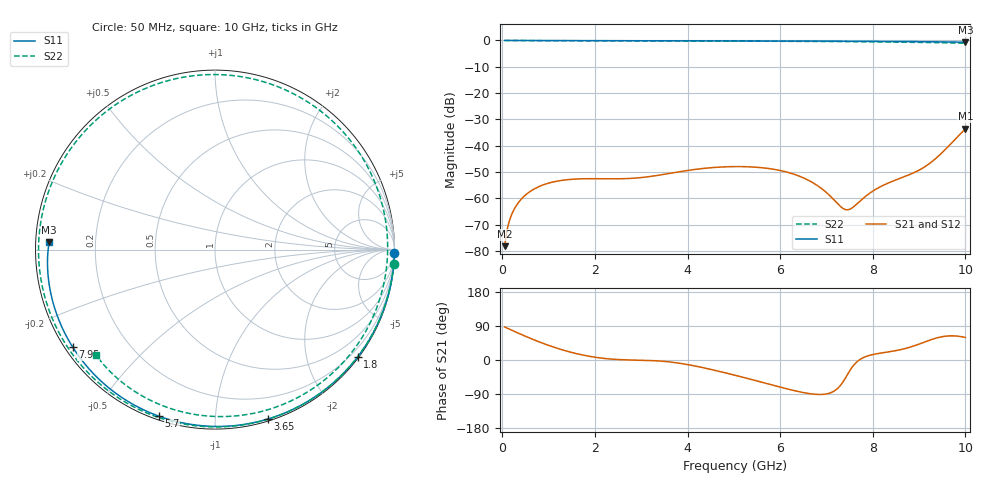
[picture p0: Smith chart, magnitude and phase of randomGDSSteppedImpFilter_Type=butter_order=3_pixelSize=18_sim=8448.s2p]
! freq	dB(S11)	phase(S11)	dB(S12)	phase(S12)
!  dB(S21)	phase(S21)	dB(S22)	phase(S22)
!S-par simulation data
#  GHz  S  DB  R 50
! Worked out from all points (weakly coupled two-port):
!   200 points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, 50 MHz to 10 GHz, reference 50 ohm
!   highest |S21| = -33.58 dB at 10 GHz (marker M1); lowest = -78.2 dB at 50 MHz (marker M2)
!   lowest |S11| = -0.7 dB at 10 GHz (marker M3), VSWR 25.70, Z = 1.95 + j1.08 ohm
!   |S11| at or under -10 dB: nowhere
!   |S22| runs from -1.1 to 0.0 dB; largest |S21 - S12| = 0
!   S11 on the Smith chart (normalised r, x): 50 MHz: open; 1.8 GHz: 0.03, -2.99; 3.65 GHz: 0.02, -1.36; 5.7 GHz: 0.02, -0.72; 7.95 GHz: 0.02, -0.31; 10 GHz: 0.04, +0.02
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0.05  -0.00 -1.1  -78.19 87.2  -78.19 87.2  -0.00 -4.6
0.1  -0.00 -2.1  -72.19 84.4  -72.19 84.4  -0.01 -9.2
0.2  -0.01 -4.2  -66.25 78.8  -66.25 78.8  -0.03 -18.3
0.5  -0.01 -10.4  -58.76 62.6  -58.76 62.6  -0.06 -44.9
0.75  -0.02 -15.6  -55.89 50.0  -55.89 50.0  -0.08 -65.8
1.05  -0.03 -21.8  -53.99 36.5  -53.99 36.5  -0.10 -88.9
1.35  -0.04 -27.9  -53.03 24.8  -53.03 24.8  -0.11 -110.0
1.75  -0.05 -36.0  -52.57 12.8  -52.57 12.8  -0.13 -135.2
1.8  -0.05 -37.0  -52.55 11.6  -52.55 11.6  -0.13 -138.1
2.55  -0.07 -51.8  -52.57 0.9  -52.57 0.9  -0.14 -178.6
3.4  -0.09 -68.0  -51.16 -2.7  -51.16 -2.7  -0.17 140.3
3.65  -0.10 -72.6  -50.42 -5.7  -50.42 -5.7  -0.18 128.5
4.35  -0.12 -85.3  -48.63 -20.6  -48.63 -20.6  -0.21 95.5
5.05  -0.15 -97.6  -47.94 -41.0  -47.94 -41.0  -0.25 62.0
5.7  -0.18 -108.6  -48.56 -61.7  -48.56 -61.7  -0.29 30.8
6.2  -0.21 -117.0  -50.30 -77.7  -50.30 -77.7  -0.32 7.3
6.7  -0.24 -125.2  -54.00 -89.8  -54.00 -89.8  -0.37 -15.4
7.4  -0.30 -136.6  -64.25 -49.5  -64.25 -49.5  -0.44 -45.3
7.95  -0.34 -145.6  -57.85 12.9  -57.85 12.9  -0.52 -67.1
8.35  -0.38 -152.2  -54.06 21.6  -54.06 21.6  -0.59 -82.0
9.2  -0.49 -166.8  -47.11 51.0  -47.11 51.0  -0.78 -111.8
10  -0.68 177.5  -33.58 59.5  -33.58 59.5  -1.06 -138.6
